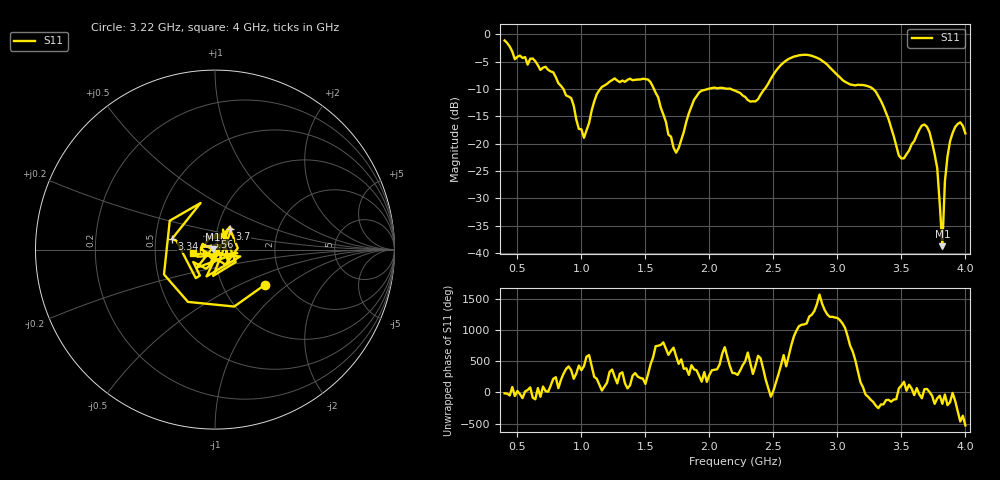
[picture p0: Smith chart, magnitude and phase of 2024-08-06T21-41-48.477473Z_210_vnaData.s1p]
!Created with skrf (http://scikit-rf.org).
# Hz S RI R 50.0
!freq ReS11 ImS11
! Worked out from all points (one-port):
!   181 points, 400 MHz to 4 GHz, reference 50 ohm
!   lowest |S11| = -38.7 dB at 3.82 GHz (marker M1), VSWR 1.02, Z = 48.9 + j0.0809 ohm
!   |S11| at or under -10 dB: 859.3 MHz to 1.147 GHz (288.1 MHz wide, 28.7 % of centre); 1.567 GHz to 1.988 GHz (421.1 MHz wide, 23.7 % of centre); 3.28 GHz to end of sweep (the widest 3 of 4)
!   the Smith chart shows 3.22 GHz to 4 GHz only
!   S11 on the Smith chart (normalised r, x): 3.22 GHz: 1.58, -0.70; 3.34 GHz: 0.61, +0.08; 3.56 GHz: 0.90, +0.13; 3.7 GHz: 1.15, +0.27; 4 GHz: 0.78, -0.03
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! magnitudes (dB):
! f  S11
! 400 MHz  -1.1
! 480 MHz  -4.6
! 620 MHz  -4.4
! 860 MHz  -10.0
! 920 MHz  -11.7
! 1.02 GHz  -18.9
! 1.14 GHz  -10.2
! 1.3 GHz  -8.8
! 1.54 GHz  -8.7
! 1.72 GHz  -20.7
! 1.76 GHz  -20.8
! 1.92 GHz  -10.6
! 2.2 GHz  -10.3
! 2.36 GHz  -12.3
! 2.66 GHz  -4.1
! 2.86 GHz  -4.5
! 3.1 GHz  -9.2
! 3.22 GHz  -9.4
! 3.34 GHz  -12.2
! 3.48 GHz  -22.1
! 3.56 GHz  -21.2
! 3.7 GHz  -16.9
! 3.78 GHz  -24.5
! 3.82 GHz  -38.7
! 3.84 GHz  -26.8
! 3.88 GHz  -19.6
! 3.96 GHz  -16.1
! 4 GHz  -18.1
